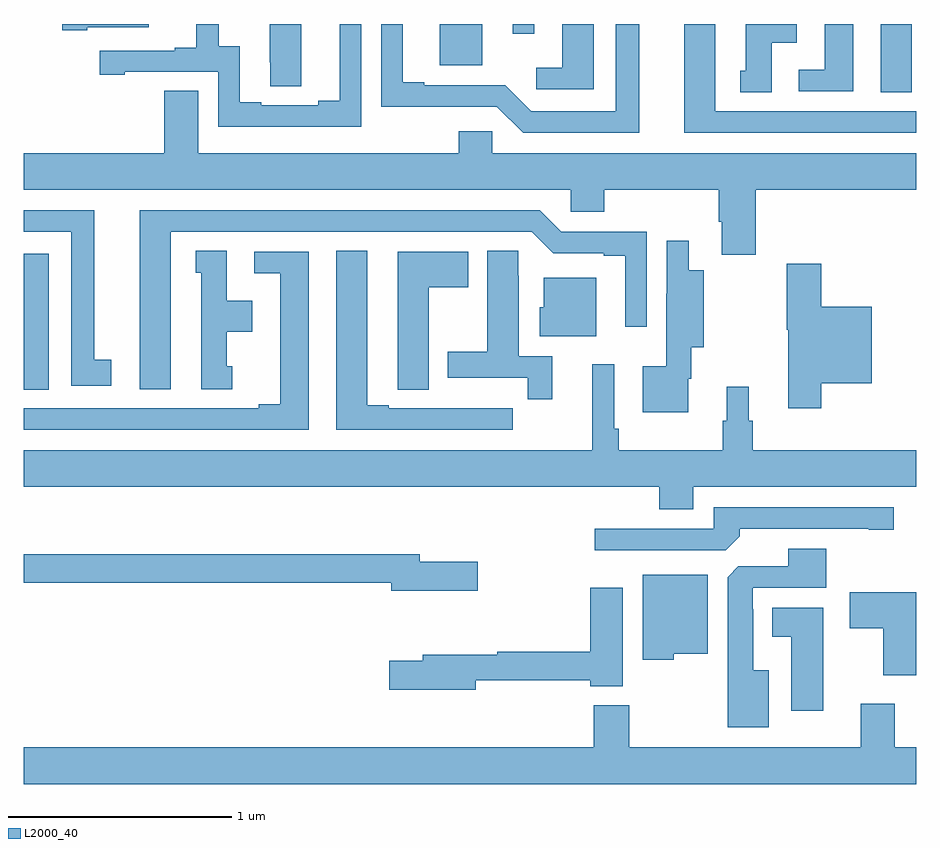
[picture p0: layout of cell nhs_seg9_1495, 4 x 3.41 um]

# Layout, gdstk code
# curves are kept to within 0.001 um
import gdstk
lib = gdstk.Library(unit=1e-6, precision=1e-09)
def R(c, l, rs):  # rectangles x0, y0, x1, y1
    for r in rs: c.add(gdstk.rectangle(r[:2], r[2:], *l))
def P(c, l, *ps):  # polygons
    for p in ps: c.add(gdstk.Polygon(p, *l))
L2000_40 = (2000, 40)

nhs_seg9_1495 = lib.new_cell('nhs_seg9_1495')
R(nhs_seg9_1495, L2000_40, [(195,1192.861,195.112,1193.469), (198.842,1194.193,198.982,1194.5), (196.865,1194.314,197.056,1194.5), (197.192,1194.456,197.289,1194.5)])
P(nhs_seg9_1495, L2000_40, [(196.512,1194.5),(196.415,1194.5),(196.415,1194.155),(196.319,1194.155),(196.319,1194.135),(196.063,1194.135),(196.063,1194.15),(195.967,1194.15),(195.967,1194.401),(195.873,1194.401),(195.873,1194.5),(195.773,1194.5),(195.773,1194.394),(195.677,1194.394),(195.677,1194.381),(195.339,1194.381),(195.339,1194.273),(195.451,1194.273),(195.451,1194.285),(195.87,1194.285),(195.87,1194.039),(196.512,1194.039)],
  [(196.243,1194.5),(196.103,1194.5),(196.103,1194.328),(196.104,1194.328),(196.104,1194.22),(196.243,1194.22)],
  [(195.283,1194.485),(195.559,1194.485),(195.559,1194.5),(195.171,1194.5),(195.171,1194.473),(195.283,1194.473)],
  [(198.718,1194.5),(198.59,1194.5),(198.59,1194.294),(198.474,1194.294),(198.474,1194.198),(198.718,1194.198)],
  [(197.758,1194.5),(197.654,1194.5),(197.654,1194.108),(197.274,1194.108),(197.157,1194.225),(196.795,1194.225),(196.795,1194.238),(196.699,1194.238),(196.699,1194.5),(196.602,1194.5),(196.602,1194.128),(197.121,1194.129),(197.238,1194.012),(197.758,1194.012)],
  [(199,1194.108),(198.1,1194.108),(198.1,1194.5),(197.96,1194.5),(197.96,1194.012),(199,1194.012)],
  [(197.554,1194.5),(197.414,1194.5),(197.414,1194.304),(197.298,1194.304),(197.298,1194.207),(197.554,1194.207)],
  [(198.352,1194.416),(198.466,1194.416),(198.466,1194.5),(198.236,1194.5),(198.236,1194.291),(198.212,1194.291),(198.212,1194.193),(198.352,1194.193)],
  [(198.281,1193.756),(199,1193.756),(199,1193.92),(197.1,1193.92),(197.1,1194.018),(196.949,1194.018),(196.949,1193.92),(195.781,1193.92),(195.781,1194.2),(195.629,1194.2),(195.629,1193.92),(195,1193.92),(195,1193.756),(197.451,1193.756),(197.451,1193.658),(197.603,1193.658),(197.603,1193.756),(198.116,1193.756),(198.116,1193.614),(198.128,1193.614),(198.128,1193.466),(198.281,1193.466)],
  [(195.658,1193.568),(197.277,1193.568),(197.373,1193.472),(197.6,1193.472),(197.6,1193.46),(197.696,1193.46),(197.696,1193.142),(197.793,1193.142),(197.793,1193.568),(197.409,1193.568),(197.313,1193.664),(195.518,1193.664),(195.518,1192.863),(195.658,1192.863)],
  [(195.391,1192.994),(195.316,1192.994),(195.316,1193.664),(195,1193.664),(195,1193.568),(195.212,1193.568),(195.212,1192.878),(195.391,1192.878)],
  [(197.979,1192.91),(197.992,1192.91),(197.992,1193.051),(198.048,1193.051),(198.048,1193.395),(197.98,1193.395),(197.98,1193.527),(197.882,1193.527),(197.882,1193.291),(197.881,1193.291),(197.881,1192.966),(197.774,1192.966),(197.774,1192.76),(197.979,1192.76)],
  [(197.369,1193.01),(197.218,1193.01),(197.218,1193.372),(197.217,1193.372),(197.217,1193.483),(197.078,1193.483),(197.078,1193.031),(196.901,1193.031),(196.901,1192.914),(197.26,1192.914),(197.26,1192.818),(197.369,1192.818)],
  [(197.191,1192.776),(197.078,1192.776),(197.078,1192.777),(196.912,1192.777),(196.912,1192.776),(196.636,1192.776),(196.636,1192.791),(196.54,1192.791),(196.54,1193.483),(196.4,1193.483),(196.4,1192.68),(197.191,1192.68)],
  [(195.934,1192.965),(195.91,1192.965),(195.91,1193.12),(196.024,1193.12),(196.024,1193.26),(195.91,1193.26),(195.91,1193.483),(195.77,1193.483),(195.77,1193.385),(195.794,1193.385),(195.794,1192.863),(195.934,1192.863)],
  [(196.816,1193.32),(196.993,1193.32),(196.993,1193.479),(196.676,1193.479),(196.676,1192.969),(196.677,1192.969),(196.677,1192.861),(196.816,1192.861)],
  [(196.276,1193.478),(196.032,1193.478),(196.032,1193.382),(196.148,1193.382),(196.148,1192.796),(196.052,1192.796),(196.052,1192.776),(195,1192.776),(195,1192.68),(196.276,1192.68)],
  [(198.575,1192.889),(198.802,1192.889),(198.802,1193.233),(198.575,1193.233),(198.575,1193.425),(198.421,1193.425),(198.421,1193.129),(198.428,1193.129),(198.428,1192.776),(198.575,1192.776)],
  [(197.566,1193.362),(197.33,1193.362),(197.33,1193.229),(197.312,1193.229),(197.312,1193.099),(197.566,1193.099)],
  [(198.001,1192.424),(199,1192.424),(199,1192.588),(198.269,1192.588),(198.269,1192.722),(198.25,1192.722),(198.25,1192.873),(198.152,1192.873),(198.152,1192.722),(198.133,1192.722),(198.133,1192.588),(197.666,1192.588),(197.666,1192.684),(197.646,1192.684),(197.646,1192.975),(197.549,1192.975),(197.549,1192.588),(195,1192.588),(195,1192.424),(197.849,1192.424),(197.849,1192.325),(198.001,1192.325)],
  [(198.209,1192.202),(198.209,1192.236),(198.788,1192.236),(198.788,1192.231),(198.901,1192.231),(198.901,1192.332),(198.093,1192.332),(198.093,1192.236),(197.559,1192.236),(197.559,1192.14),(198.147,1192.14)],
  [(198.34,1191.601),(198.271,1191.601),(198.271,1191.875),(198.267,1191.875),(198.267,1191.972),(198.598,1191.972),(198.598,1192.147),(198.428,1192.147),(198.428,1192.068),(198.204,1192.068),(198.155,1192.019),(198.155,1191.347),(198.34,1191.347)],
  [(197.035,1192.089),(196.774,1192.089),(196.774,1192.123),(195,1192.123),(195,1191.994),(196.646,1191.994),(196.646,1191.959),(197.035,1191.959)],
  [(197.913,1191.677),(198.067,1191.677),(198.067,1192.03),(197.774,1192.03),(197.774,1191.65),(197.913,1191.65)],
  [(197.026,1191.558),(197.54,1191.558),(197.54,1191.53),(197.686,1191.53),(197.686,1191.973),(197.54,1191.973),(197.54,1191.686),(197.122,1191.686),(197.122,1191.671),(196.787,1191.671),(196.787,1191.645),(196.638,1191.645),(196.638,1191.515),(197.026,1191.515)],
  [(199,1191.952),(198.702,1191.952),(198.702,1191.79),(198.854,1191.79),(198.854,1191.579),(199,1191.579)],
  [(198.583,1191.883),(198.356,1191.883),(198.356,1191.752),(198.44,1191.752),(198.44,1191.42),(198.583,1191.42)],
  [(199,1191.256),(198.905,1191.256),(198.905,1191.451),(198.752,1191.451),(198.752,1191.256),(197.715,1191.256),(197.715,1191.445),(197.555,1191.445),(197.555,1191.256),(195,1191.256),(195,1191.092),(199,1191.092)])

lib.write_gds('nhs_seg9_1495.gds')
